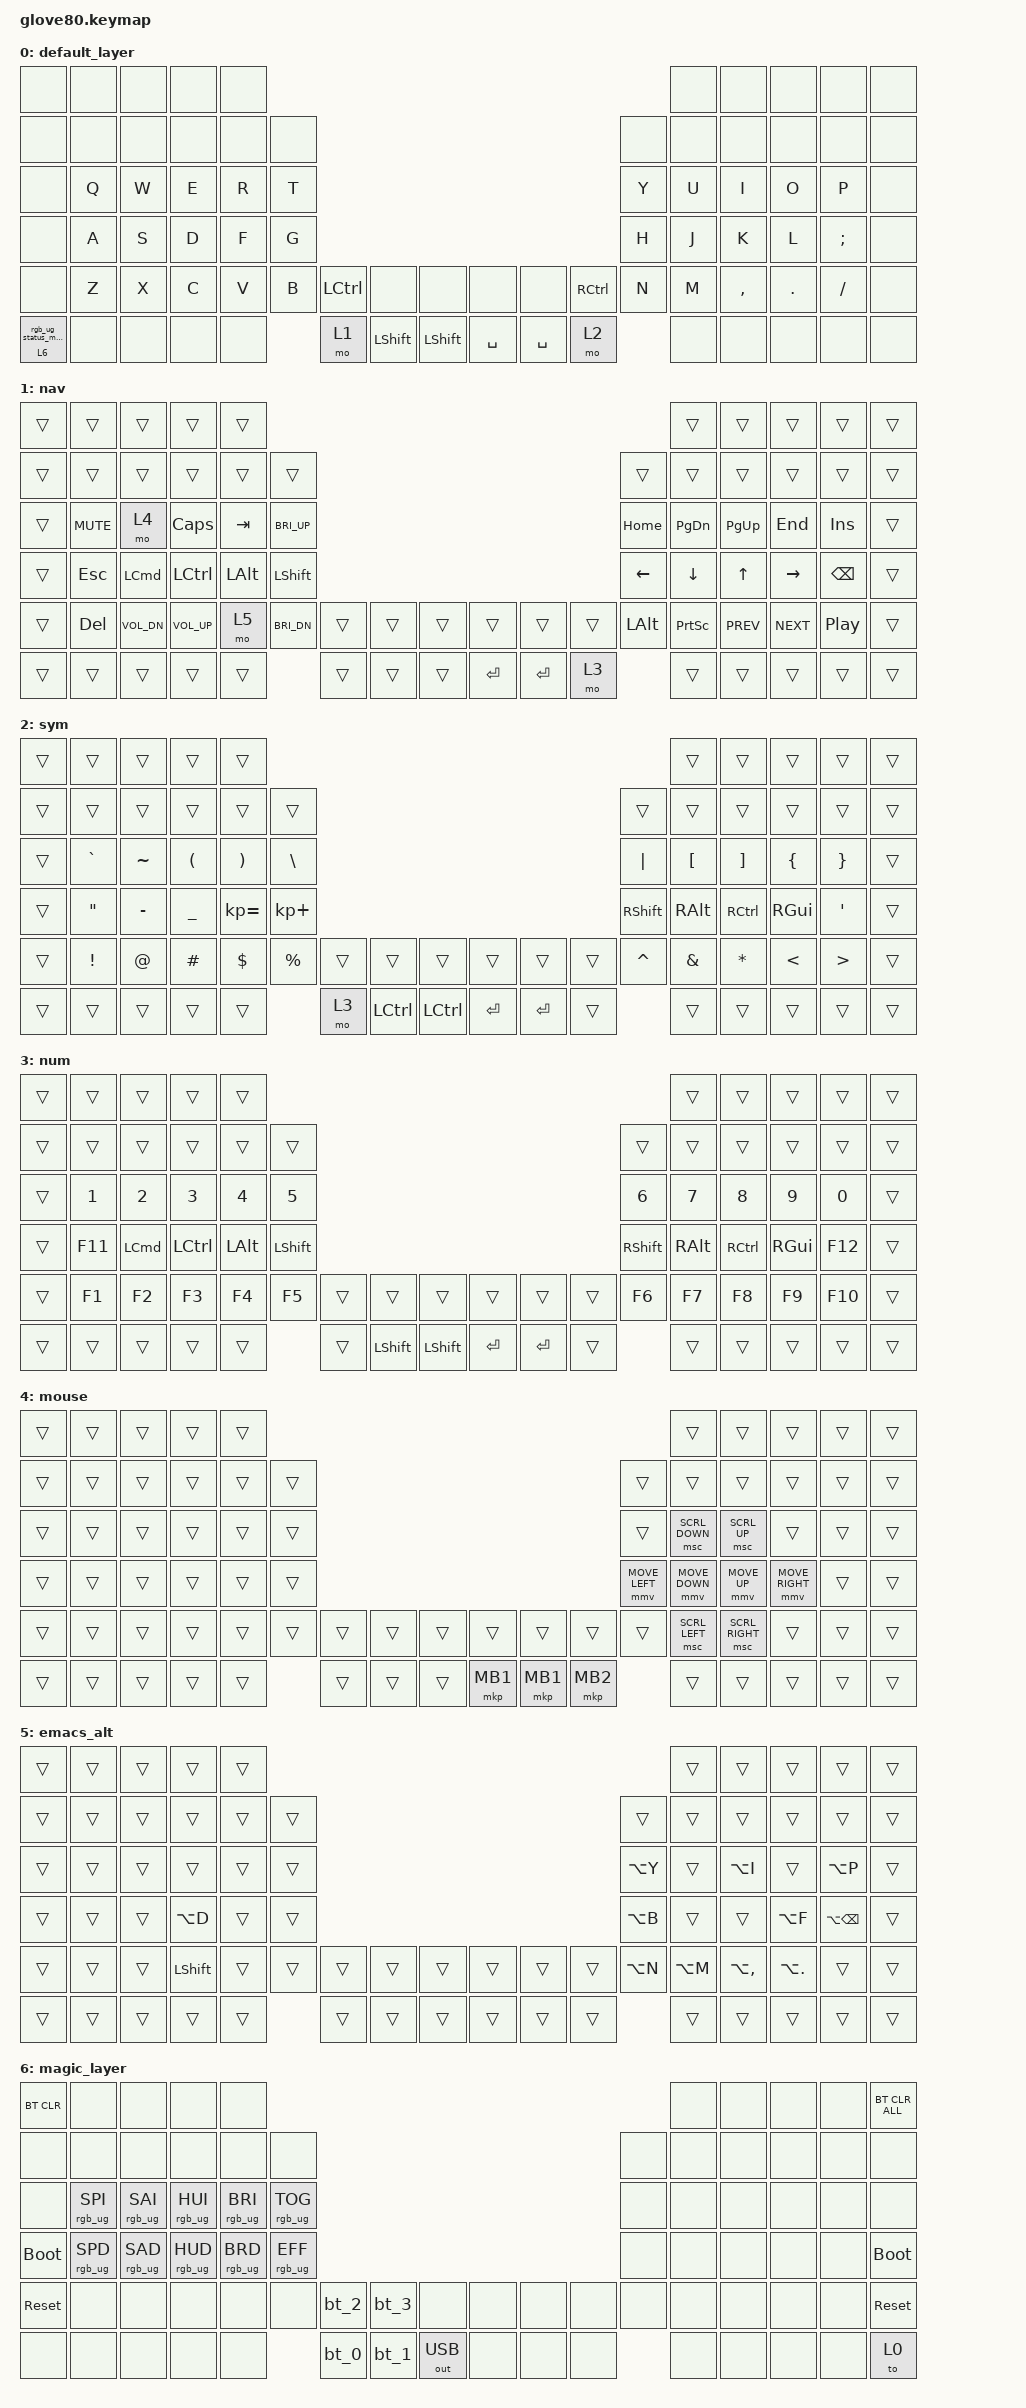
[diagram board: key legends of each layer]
/*
 * Copyright (c) 2020 The ZMK Contributors
 *
 * SPDX-License-Identifier: MIT
 */

#define ZMK_POINTING_DEFAULT_MOVE_VAL 1500  // default: 600
#define ZMK_POINTING_DEFAULT_SCRL_VAL 20    // default: 10

#include <behaviors.dtsi>
#include <dt-bindings/zmk/bt.h>
#include <dt-bindings/zmk/keys.h>
#include <dt-bindings/zmk/outputs.h>
#include <dt-bindings/zmk/pointing.h>
#include <dt-bindings/zmk/rgb.h>

#define HYPER LC(LS(LG(LALT)))

// layers

#define DEFAULT 0
#define LOWER 1
#define MAGIC 2
#define FACTORY_TEST 3

/ {
    behaviors {
        // For the "layer" key, it'd nice to be able to use it as either a shift or a toggle.
        // Configure it as a tap dance, so the first tap (or hold) is a &mo and the second tap is a &to

        layer_td: tap_dance_0 {
            compatible = "zmk,behavior-tap-dance";
            label = "LAYER_TAP_DANCE";
            #binding-cells = <0>;
            tapping-term-ms = <200>;
            bindings = <&mo 0>, <&to 0>;
        };

        magic: magic_hold_tap {
            compatible = "zmk,behavior-hold-tap";
            label = "MAGIC_HOLD_TAP";
            #binding-cells = <2>;
            flavor = "tap-preferred";
            tapping-term-ms = <200>;
            bindings = <&mo>, <&rgb_ug_status_macro>;
        };

        nav: nav {
            compatible = "zmk,behavior-tap-dance";
            label = "NAV";
            #binding-cells = <0>;
            bindings = <&mo 1>, <&to 1>;
        };

        hm_l: hm_l {
            compatible = "zmk,behavior-hold-tap";
            label = "HM_L";
            bindings = <&kp>, <&kp>;

            #binding-cells = <2>;
            tapping-term-ms = <280>;
            flavor = "balanced";
            hold-trigger-key-positions = <5 6 5 6 7 8 9 16 17 18 19 20 21 28 29 30 31 32 33 40 41 42 43 44 45 57 58 59 60 61 62 63 73 74 75 76 77 78 79 55 56 57 72 73>;
            quick-tap-ms = <175>;
            require-prior-idle-ms = <150>;
            hold-trigger-on-release;
        };

        hm_r: hm_r {
            compatible = "zmk,behavior-hold-tap";
            label = "HM_R";
            bindings = <&kp>, <&kp>;

            #binding-cells = <2>;
            tapping-term-ms = <280>;
            flavor = "balanced";
            hold-trigger-key-positions = <0 1 2 3 4 10 11 12 13 14 15 22 23 24 25 26 27 34 35 36 37 38 39 46 47 48 49 50 51 52 53 54 64 65 66 67 68 69 70 71>;
            quick-tap-ms = <175>;
            require-prior-idle-ms = <150>;
            hold-trigger-on-release;
        };

        num: num {
            compatible = "zmk,behavior-tap-dance";
            label = "NUM";
            #binding-cells = <0>;
            bindings = <&mo 3>, <&to 3>;
        };

        sym: sym {
            compatible = "zmk,behavior-tap-dance";
            label = "SYM";
            #binding-cells = <0>;
            bindings = <&mo 2>, <&to 2>;
        };

        spctrl: spctrl {
            compatible = "zmk,behavior-hold-tap";
            label = "SPCTRL";
            bindings = <&kp>, <&kp>;

            #binding-cells = <2>;
            flavor = "balanced";
            tapping-term-ms = <200>;
        };
    };

    macros {
        rgb_ug_status_macro: rgb_ug_status_macro_0 {
            label = "RGB_UG_STATUS";
            compatible = "zmk,behavior-macro";
            #binding-cells = <0>;
            bindings = <&rgb_ug RGB_STATUS>;
        };

        bt_0: bt_profile_macro_0 {
            label = "BT_0";
            compatible = "zmk,behavior-macro";
            #binding-cells = <0>;
            bindings = <&out OUT_BLE &bt BT_SEL 0>;
        };

        bt_1: bt_profile_macro_1 {
            label = "BT_1";
            compatible = "zmk,behavior-macro";
            #binding-cells = <0>;
            bindings = <&out OUT_BLE &bt BT_SEL 1>;
        };

        bt_2: bt_profile_macro_2 {
            label = "BT_2";
            compatible = "zmk,behavior-macro";
            #binding-cells = <0>;
            bindings = <&out OUT_BLE &bt BT_SEL 2>;
        };

        bt_3: bt_profile_macro_3 {
            label = "BT_3";
            compatible = "zmk,behavior-macro";
            #binding-cells = <0>;
            bindings = <&out OUT_BLE &bt BT_SEL 3>;
        };
    };

    combos { compatible = "zmk,combos"; };

    keymap {
        compatible = "zmk,keymap";

        default_layer {
            // ---------------------------------------------------------------------------------------------------------------------------------
            // |  F1   |  F2 |  F3 |  F4  |  F5  |                                                               |  F6   |  F7   |  F8  |   F9  |  F10 |
            // |  =    |  1  |  2  |  3   |  4   |  5   |                                                 |  6   |   7   |   8   |  9   |   0   |   -  |
            // |  TAB  |  Q  |  W  |  E   |  R   |  T   |                                                 |  Y   |   U   |   I   |  O   |   P   |   \  |
            // |  ESC  |  A  |  S  |  D   |  F   |  G   |                                                 |  H   |   J   |   K   |  L   |   ;   |   '  |
            // |   `   |  Z  |  X  |  C   |  V   |  B   | LSHFT | LCTRL | LOWER | | LGUI  | RCTRL | RSHFT |  N   |   M   |   ,   |  .   |   /   | PGUP |
            // | MAGIC | HOME| END | LEFT | RIGHT|      | BSPC  | DEL   | LALT  | | RALT  | RET   | SPACE |      |  UP   | DOWN  |  [   |   ]   | PGDN |

            bindings = <
&none       &none  &none  &none  &none                                                                                                           &none  &none      &none       &none          &none
&none       &none  &none  &none  &none  &none                                                                                             &none  &none  &none      &none       &none          &none
&none       &kp Q  &kp W  &kp E  &kp R  &kp T                                                                                             &kp Y  &kp U  &kp I      &kp O       &kp P          &none
&none       &kp A  &kp S  &kp D  &kp F  &kp G                                                                                             &kp H  &kp J  &kp K      &kp L       &kp SEMICOLON  &none
&none       &kp Z  &kp X  &kp C  &kp V  &kp B  &kp LEFT_CONTROL  &none           &none           &none      &none      &kp RIGHT_CONTROL  &kp N  &kp M  &kp COMMA  &kp PERIOD  &kp FSLH       &none
&magic 6 0  &none  &none  &none  &none         &mo 1             &kp LEFT_SHIFT  &kp LEFT_SHIFT  &kp SPACE  &kp SPACE  &mo 2                     &none  &none      &none       &none          &none
            >;
        };

        nav {
            bindings = <
&trans  &trans      &trans        &trans            &trans                                                                                              &trans           &trans        &trans           &trans         &trans
&trans  &trans      &trans        &trans            &trans        &trans                                                                &trans          &trans           &trans        &trans           &trans         &trans
&trans  &kp C_MUTE  &mo 4         &kp CAPSLOCK      &kp TAB       &kp C_BRI_UP                                                          &kp HOME        &kp PAGE_DOWN    &kp PAGE_UP   &kp END          &kp INSERT     &trans
&trans  &kp ESCAPE  &kp LCMD      &kp LEFT_CONTROL  &kp LEFT_ALT  &kp LEFT_SHIFT                                                        &kp LEFT_ARROW  &kp DOWN_ARROW   &kp UP_ARROW  &kp RIGHT_ARROW  &kp BACKSPACE  &trans
&trans  &kp DEL     &kp C_VOL_DN  &kp C_VOL_UP      &mo 5         &kp C_BRI_DN    &trans  &trans  &trans  &trans     &trans     &trans  &kp LEFT_ALT    &kp PRINTSCREEN  &kp C_PREV    &kp C_NEXT       &kp C_PP       &trans
&trans  &trans      &trans        &trans            &trans                        &trans  &trans  &trans  &kp ENTER  &kp ENTER  &mo 3                   &trans           &trans        &trans           &trans         &trans
            >;
        };

        sym {
            bindings = <
&trans  &trans             &trans     &trans                &trans                                                                                                                           &trans            &trans             &trans          &trans            &trans
&trans  &trans             &trans     &trans                &trans                 &trans                                                                                   &trans           &trans            &trans             &trans          &trans            &trans
&trans  &kp GRAVE          &kp TILDE  &kp LEFT_PARENTHESIS  &kp RIGHT_PARENTHESIS  &kp BACKSLASH                                                                            &kp PIPE         &kp LEFT_BRACKET  &kp RIGHT_BRACKET  &kp LEFT_BRACE  &kp RIGHT_BRACE   &trans
&trans  &kp DOUBLE_QUOTES  &kp MINUS  &kp UNDERSCORE        &kp KP_EQUAL           &kp KP_PLUS                                                                              &kp RIGHT_SHIFT  &kp RIGHT_ALT     &kp RIGHT_CONTROL  &kp RIGHT_GUI   &kp SQT           &trans
&trans  &kp EXCL           &kp AT     &kp HASH              &kp DOLLAR             &kp PERCENT    &trans  &trans            &trans            &trans     &trans     &trans  &kp CARET        &kp AMPS          &kp STAR           &kp LESS_THAN   &kp GREATER_THAN  &trans
&trans  &trans             &trans     &trans                &trans                                &mo 3   &kp LEFT_CONTROL  &kp LEFT_CONTROL  &kp ENTER  &kp ENTER  &trans                   &trans            &trans             &trans          &trans            &trans
            >;
        };

        num {
            bindings = <
&trans  &trans        &trans        &trans            &trans                                                                                                               &trans         &trans             &trans         &trans   &trans
&trans  &trans        &trans        &trans            &trans        &trans                                                                                &trans           &trans         &trans             &trans         &trans   &trans
&trans  &kp NUMBER_1  &kp NUMBER_2  &kp NUMBER_3      &kp NUMBER_4  &kp NUMBER_5                                                                          &kp N6           &kp N7         &kp NUMBER_8       &kp N9         &kp N0   &trans
&trans  &kp F11       &kp LCMD      &kp LEFT_CONTROL  &kp LEFT_ALT  &kp LEFT_SHIFT                                                                        &kp RIGHT_SHIFT  &kp RIGHT_ALT  &kp RIGHT_CONTROL  &kp RIGHT_GUI  &kp F12  &trans
&trans  &kp F1        &kp F2        &kp F3            &kp F4        &kp F5          &trans  &trans          &trans          &trans     &trans     &trans  &kp F6           &kp F7         &kp F8             &kp F9         &kp F10  &trans
&trans  &trans        &trans        &trans            &trans                        &trans  &kp LEFT_SHIFT  &kp LEFT_SHIFT  &kp ENTER  &kp ENTER  &trans                   &trans         &trans             &trans         &trans   &trans
            >;
        };

        mouse {
            bindings = <
&trans  &trans  &trans  &trans  &trans                                                                                &trans          &trans           &trans           &trans  &trans
&trans  &trans  &trans  &trans  &trans  &trans                                                        &trans          &trans          &trans           &trans           &trans  &trans
&trans  &trans  &trans  &trans  &trans  &trans                                                        &trans          &msc SCRL_DOWN  &msc SCRL_UP     &trans           &trans  &trans
&trans  &trans  &trans  &trans  &trans  &trans                                                        &mmv MOVE_LEFT  &mmv MOVE_DOWN  &mmv MOVE_UP     &mmv MOVE_RIGHT  &trans  &trans
&trans  &trans  &trans  &trans  &trans  &trans  &trans  &trans  &trans  &trans    &trans    &trans    &trans          &msc SCRL_LEFT  &msc SCRL_RIGHT  &trans           &trans  &trans
&trans  &trans  &trans  &trans  &trans          &trans  &trans  &trans  &mkp MB1  &mkp MB1  &mkp MB2                  &trans          &trans           &trans           &trans  &trans
            >;
        };

        emacs_alt {
            bindings = <
&trans  &trans  &trans  &trans          &trans                                                                     &trans     &trans         &trans          &trans             &trans
&trans  &trans  &trans  &trans          &trans  &trans                                                  &trans     &trans     &trans         &trans          &trans             &trans
&trans  &trans  &trans  &trans          &trans  &trans                                                  &kp LA(Y)  &trans     &kp LA(I)      &trans          &kp LA(P)          &trans
&trans  &trans  &trans  &kp LA(D)       &trans  &trans                                                  &kp LA(B)  &trans     &trans         &kp LA(F)       &kp LA(BACKSPACE)  &trans
&trans  &trans  &trans  &kp LEFT_SHIFT  &trans  &trans  &trans  &trans  &trans  &trans  &trans  &trans  &kp LA(N)  &kp LA(M)  &kp LA(COMMA)  &kp LA(PERIOD)  &trans             &trans
&trans  &trans  &trans  &trans          &trans          &trans  &trans  &trans  &trans  &trans  &trans             &trans     &trans         &trans          &trans             &trans
            >;
        };

        magic_layer {
            bindings = <
&bt BT_CLR   &none            &none            &none            &none                                                                                     &none  &none  &none  &none  &bt BT_CLR_ALL
&none        &none            &none            &none            &none            &none                                                             &none  &none  &none  &none  &none  &none
&none        &rgb_ug RGB_SPI  &rgb_ug RGB_SAI  &rgb_ug RGB_HUI  &rgb_ug RGB_BRI  &rgb_ug RGB_TOG                                                   &none  &none  &none  &none  &none  &none
&bootloader  &rgb_ug RGB_SPD  &rgb_ug RGB_SAD  &rgb_ug RGB_HUD  &rgb_ug RGB_BRD  &rgb_ug RGB_EFF                                                   &none  &none  &none  &none  &none  &bootloader
&sys_reset   &none            &none            &none            &none            &none            &bt_2  &bt_3  &none         &none  &none  &none  &none  &none  &none  &none  &none  &sys_reset
&none        &none            &none            &none            &none                             &bt_0  &bt_1  &out OUT_USB  &none  &none  &none         &none  &none  &none  &none  &to 0
            >;
        };
    };
};
